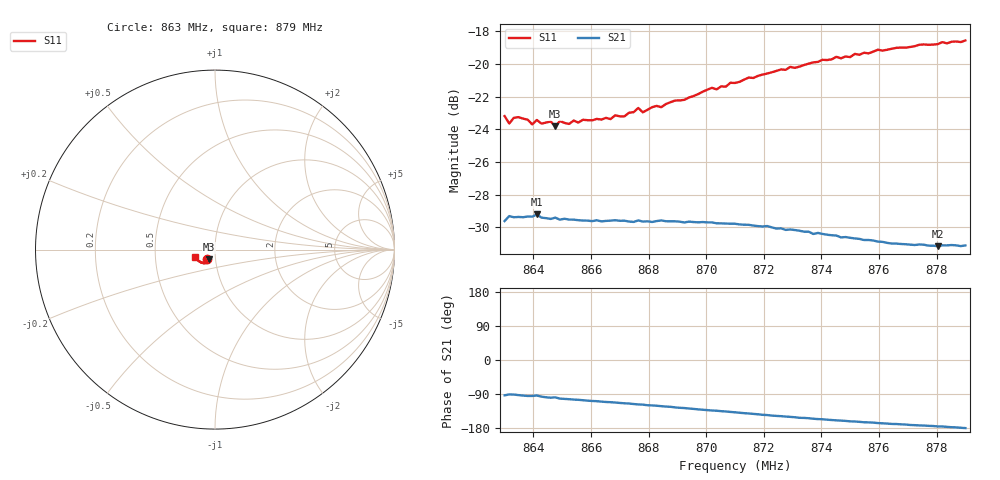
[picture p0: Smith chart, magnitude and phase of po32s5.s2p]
# HZ S RI R 50
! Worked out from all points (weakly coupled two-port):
!   101 points, 863 MHz to 879 MHz, reference 50 ohm
!   highest |S21| = -29.21 dB at 864.12 MHz (marker M1); lowest = -31.2 dB at 878.04 MHz (marker M2)
!   lowest |S11| = -23.8 dB at 864.76 MHz (marker M3), VSWR 1.14, Z = 46.4 - j5.05 ohm
!   |S11| at or under -10 dB: start of sweep to end of sweep
!   S12 and S22 are empty: the file has one direction only
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8.63e8  -0.044 -0.0534  -0.00185 -0.033  0 0  0 0
8.6316e8  -0.0445 -0.0483  -0.000551 -0.0342  0 0  0 0
8.6348e8  -0.043 -0.0536  -0.00156 -0.034  0 0  0 0
8.6396e8  -0.0378 -0.0532  -0.0029 -0.034  0 0  0 0
8.6412e8  -0.0382 -0.0554  -0.00223 -0.0346  0 0  0 0
8.6428e8  -0.0364 -0.0546  -0.00393 -0.0336  0 0  0 0
8.646e8  -0.0382 -0.0546  -0.00553 -0.0331  0 0  0 0
8.6476e8  -0.0347 -0.0542  -0.005 -0.0335  0 0  0 0
8.6492e8  -0.0381 -0.0549  -0.00686 -0.0327  0 0  0 0
8.6524e8  -0.0361 -0.0547  -0.00776 -0.0325  0 0  0 0
8.6572e8  -0.0352 -0.0575  -0.0092 -0.0319  0 0  0 0
8.6668e8  -0.0353 -0.0579  -0.0121 -0.0309  0 0  0 0
8.6684e8  -0.0353 -0.06  -0.0126 -0.0308  0 0  0 0
8.6716e8  -0.034 -0.0601  -0.0136 -0.0302  0 0  0 0
8.6764e8  -0.0361 -0.0638  -0.0152 -0.0295  0 0  0 0
8.678e8  -0.0339 -0.0625  -0.0154 -0.0291  0 0  0 0
8.6844e8  -0.0355 -0.0645  -0.0175 -0.0282  0 0  0 0
8.71e8  -0.048 -0.0731  -0.0241 -0.0217  0 0  0 0
8.7372e8  -0.0678 -0.0748  -0.0274 -0.0128  0 0  0 0
8.7644e8  -0.0925 -0.0617  -0.0277 -0.00551  0 0  0 0
8.7804e8  -0.1037 -0.0494  -0.0276 -0.00226  0 0  0 0
8.79e8  -0.1109 -0.0401  -0.0278 -0.000167  0 0  0 0
